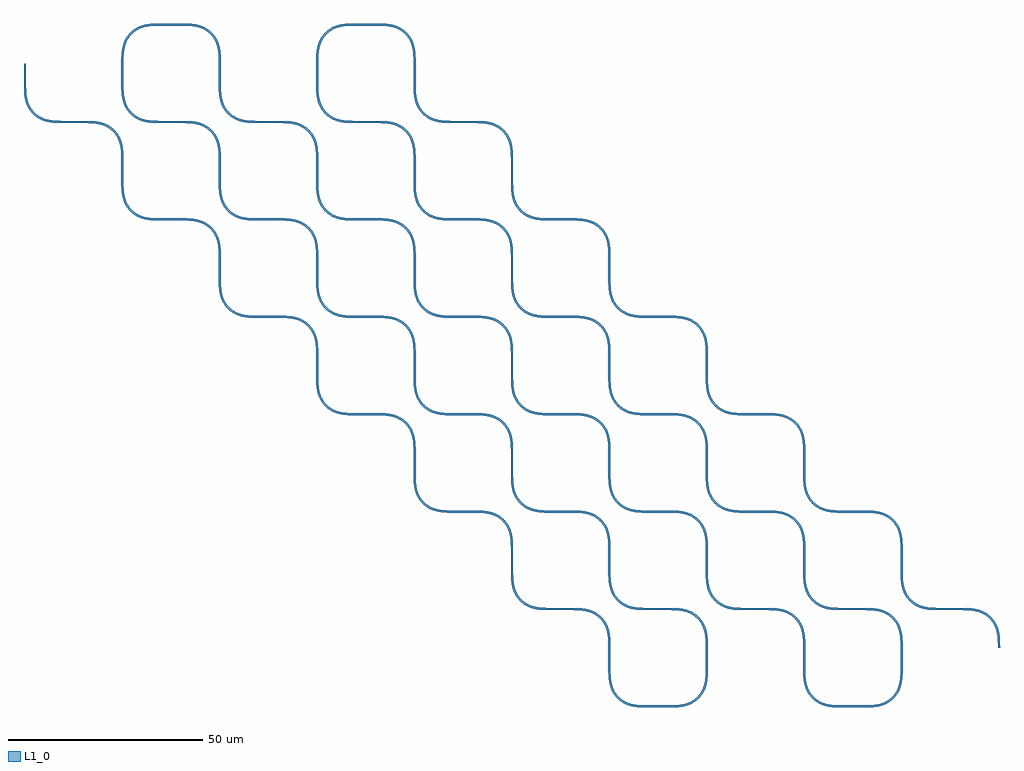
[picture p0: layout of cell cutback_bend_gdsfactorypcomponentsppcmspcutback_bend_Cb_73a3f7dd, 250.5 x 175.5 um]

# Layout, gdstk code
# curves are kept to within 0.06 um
from math import pi, radians
import gdstk
lib = gdstk.Library(unit=1e-6, precision=1e-09)
def R(c, l, rs):  # rectangles x0, y0, x1, y1
    for r in rs: c.add(gdstk.rectangle(r[:2], r[2:], *l))
def P(c, l, *ps):  # polygons
    for p in ps: c.add(gdstk.Polygon(p, *l))
L1_0 = (1, 0)

straight_gdsfactorypcomp = lib.new_cell('straight_gdsfactorypcomponentspwaveguidespstraight_L5_N_32b584f5')
R(straight_gdsfactorypcomp, L1_0, [(0,-0.25,5,0.25)])

bend_euler_gdsfactorypco = lib.new_cell('bend_euler_gdsfactorypcomponentspbendspbend_euler_RNone_387600b2')
P(bend_euler_gdsfactorypco, L1_0, [(0,-0.25),(0,0.25),(2.881,0.353),(3.952,0.52),(4.99,0.806),(6.431,1.505),(7.575,2.425),(8.495,3.569),(9.194,5.01),(9.48,6.048),(9.647,7.119),(9.75,10),(10.25,10),(10.158,7.205),(9.797,5.254),(9.457,4.312),(9.066,3.545),(8.5,2.715),(7.928,2.072),(7.285,1.5),(6.455,0.934),(5.688,0.543),(4.746,0.203),(2.795,-0.158)])

cutback_bend_gdsfactoryp = lib.new_cell('cutback_bend_gdsfactorypcomponentsppcmspcutback_bend_Cb_73a3f7dd')
cutback_bend_gdsfactoryp.add(gdstk.Reference(straight_gdsfactorypcomp, (-75,70), rotation=pi/2))
cutback_bend_gdsfactoryp.add(gdstk.Reference(bend_euler_gdsfactorypco, (-125,120), rotation=3*pi/2))
cutback_bend_gdsfactoryp.add(gdstk.Reference(straight_gdsfactorypcomp, (-125,120), rotation=pi/2))
cutback_bend_gdsfactoryp.add(gdstk.Reference(bend_euler_gdsfactorypco, (-125,125), rotation=pi/2))
cutback_bend_gdsfactoryp.add(gdstk.Reference(bend_euler_gdsfactorypco, (-125,100), rotation=pi/2))
cutback_bend_gdsfactoryp.add(gdstk.Reference(straight_gdsfactorypcomp, (-125,100), rotation=3*pi/2))
cutback_bend_gdsfactoryp.add(gdstk.Reference(bend_euler_gdsfactorypco, (-125,95), rotation=3*pi/2))
cutback_bend_gdsfactoryp.add(gdstk.Reference(straight_gdsfactorypcomp, (-100,75), rotation=3*pi/2))
cutback_bend_gdsfactoryp.add(gdstk.Reference(bend_euler_gdsfactorypco, (-125,70), rotation=3*pi/2))
cutback_bend_gdsfactoryp.add(gdstk.Reference(straight_gdsfactorypcomp, (-125,70), rotation=pi/2))
cutback_bend_gdsfactoryp.add(gdstk.Reference(bend_euler_gdsfactorypco, (-125,75), rotation=pi/2))
cutback_bend_gdsfactoryp.add(gdstk.Reference(straight_gdsfactorypcomp, (-150,75), rotation=3*pi/2))
cutback_bend_gdsfactoryp.add(gdstk.Reference(bend_euler_gdsfactorypco, (-125,50), rotation=pi/2))
cutback_bend_gdsfactoryp.add(gdstk.Reference(straight_gdsfactorypcomp, (-125,50), rotation=3*pi/2))
cutback_bend_gdsfactoryp.add(gdstk.Reference(bend_euler_gdsfactorypco, (-125,45), rotation=3*pi/2))
cutback_bend_gdsfactoryp.add(gdstk.Reference(bend_euler_gdsfactorypco, (-125,20), rotation=3*pi/2))
cutback_bend_gdsfactoryp.add(gdstk.Reference(straight_gdsfactorypcomp, (-125,20), rotation=pi/2))
cutback_bend_gdsfactoryp.add(gdstk.Reference(bend_euler_gdsfactorypco, (-125,25), rotation=pi/2))
cutback_bend_gdsfactoryp.add(gdstk.Reference(straight_gdsfactorypcomp, (-175,70), rotation=pi/2))
cutback_bend_gdsfactoryp.add(gdstk.Reference(bend_euler_gdsfactorypco, (-100,100), rotation=pi/2))
cutback_bend_gdsfactoryp.add(gdstk.Reference(straight_gdsfactorypcomp, (-110,110), rotation=pi))
cutback_bend_gdsfactoryp.add(gdstk.Reference(straight_gdsfactorypcomp, (-115,85)))
cutback_bend_gdsfactoryp.add(gdstk.Reference(bend_euler_gdsfactorypco, (-100,75), rotation=pi/2))
cutback_bend_gdsfactoryp.add(gdstk.Reference(bend_euler_gdsfactorypco, (-75,75), rotation=pi/2))
cutback_bend_gdsfactoryp.add(gdstk.Reference(straight_gdsfactorypcomp, (-85,85), rotation=pi))
cutback_bend_gdsfactoryp.add(gdstk.Reference(bend_euler_gdsfactorypco, (-100,95), rotation=3*pi/2))
cutback_bend_gdsfactoryp.add(gdstk.Reference(straight_gdsfactorypcomp, (-100,95), rotation=pi/2))
cutback_bend_gdsfactoryp.add(gdstk.Reference(straight_gdsfactorypcomp, (-160,160), rotation=pi))
cutback_bend_gdsfactoryp.add(gdstk.Reference(bend_euler_gdsfactorypco, (-165,160), rotation=pi))
cutback_bend_gdsfactoryp.add(gdstk.Reference(straight_gdsfactorypcomp, (-175,150), rotation=3*pi/2))
cutback_bend_gdsfactoryp.add(gdstk.Reference(bend_euler_gdsfactorypco, (-175,145), rotation=3*pi/2))
cutback_bend_gdsfactoryp.add(gdstk.Reference(straight_gdsfactorypcomp, (-165,135)))
cutback_bend_gdsfactoryp.add(gdstk.Reference(straight_gdsfactorypcomp, (-135,85), rotation=pi))
cutback_bend_gdsfactoryp.add(gdstk.Reference(bend_euler_gdsfactorypco, (-150,95), rotation=3*pi/2))
cutback_bend_gdsfactoryp.add(gdstk.Reference(straight_gdsfactorypcomp, (-150,95), rotation=pi/2))
cutback_bend_gdsfactoryp.add(gdstk.Reference(bend_euler_gdsfactorypco, (-150,100), rotation=pi/2))
cutback_bend_gdsfactoryp.add(gdstk.Reference(straight_gdsfactorypcomp, (-160,110), rotation=pi))
cutback_bend_gdsfactoryp.add(gdstk.Reference(bend_euler_gdsfactorypco, (-175,120), rotation=3*pi/2))
cutback_bend_gdsfactoryp.add(gdstk.Reference(straight_gdsfactorypcomp, (-175,120), rotation=pi/2))
cutback_bend_gdsfactoryp.add(gdstk.Reference(bend_euler_gdsfactorypco, (-175,125), rotation=pi/2))
cutback_bend_gdsfactoryp.add(gdstk.Reference(straight_gdsfactorypcomp, (-185,135), rotation=pi))
cutback_bend_gdsfactoryp.add(gdstk.Reference(bend_euler_gdsfactorypco, (-200,145), rotation=3*pi/2))
cutback_bend_gdsfactoryp.add(gdstk.Reference(straight_gdsfactorypcomp, (-200,145), rotation=pi/2))
cutback_bend_gdsfactoryp.add(gdstk.Reference(bend_euler_gdsfactorypco, (-200,150), rotation=pi/2))
cutback_bend_gdsfactoryp.add(gdstk.Reference(straight_gdsfactorypcomp, (-210,160), rotation=pi))
cutback_bend_gdsfactoryp.add(gdstk.Reference(bend_euler_gdsfactorypco, (-215,160), rotation=pi))
cutback_bend_gdsfactoryp.add(gdstk.Reference(straight_gdsfactorypcomp, (-225,150), rotation=3*pi/2))
cutback_bend_gdsfactoryp.add(gdstk.Reference(bend_euler_gdsfactorypco, (-225,145), rotation=3*pi/2))
cutback_bend_gdsfactoryp.add(gdstk.Reference(straight_gdsfactorypcomp, (-215,135)))
cutback_bend_gdsfactoryp.add(gdstk.Reference(bend_euler_gdsfactorypco, (-200,125), rotation=pi/2))
cutback_bend_gdsfactoryp.add(gdstk.Reference(straight_gdsfactorypcomp, (-200,125), rotation=3*pi/2))
cutback_bend_gdsfactoryp.add(gdstk.Reference(bend_euler_gdsfactorypco, (-200,120), rotation=3*pi/2))
cutback_bend_gdsfactoryp.add(gdstk.Reference(straight_gdsfactorypcomp, (-190,110)))
cutback_bend_gdsfactoryp.add(gdstk.Reference(bend_euler_gdsfactorypco, (-175,100), rotation=pi/2))
cutback_bend_gdsfactoryp.add(gdstk.Reference(straight_gdsfactorypcomp, (-175,100), rotation=3*pi/2))
cutback_bend_gdsfactoryp.add(gdstk.Reference(bend_euler_gdsfactorypco, (-175,95), rotation=3*pi/2))
cutback_bend_gdsfactoryp.add(gdstk.Reference(straight_gdsfactorypcomp, (-165,85)))
cutback_bend_gdsfactoryp.add(gdstk.Reference(bend_euler_gdsfactorypco, (-150,75), rotation=pi/2))
cutback_bend_gdsfactoryp.add(gdstk.Reference(bend_euler_gdsfactorypco, (-150,125), rotation=pi/2))
cutback_bend_gdsfactoryp.add(gdstk.Reference(straight_gdsfactorypcomp, (-150,125), rotation=3*pi/2))
cutback_bend_gdsfactoryp.add(gdstk.Reference(bend_euler_gdsfactorypco, (-150,120), rotation=3*pi/2))
cutback_bend_gdsfactoryp.add(gdstk.Reference(straight_gdsfactorypcomp, (-140,110)))
cutback_bend_gdsfactoryp.add(gdstk.Reference(straight_gdsfactorypcomp, (-135,135), rotation=pi))
cutback_bend_gdsfactoryp.add(gdstk.Reference(bend_euler_gdsfactorypco, (-150,145), rotation=3*pi/2))
cutback_bend_gdsfactoryp.add(gdstk.Reference(straight_gdsfactorypcomp, (-150,145), rotation=pi/2))
cutback_bend_gdsfactoryp.add(gdstk.Reference(bend_euler_gdsfactorypco, (-150,150), rotation=pi/2))
cutback_bend_gdsfactoryp.add(gdstk.Reference(bend_euler_gdsfactorypco, (-175,75), rotation=pi/2))
cutback_bend_gdsfactoryp.add(gdstk.Reference(straight_gdsfactorypcomp, (-185,85), rotation=pi))
cutback_bend_gdsfactoryp.add(gdstk.Reference(bend_euler_gdsfactorypco, (-200,95), rotation=3*pi/2))
cutback_bend_gdsfactoryp.add(gdstk.Reference(straight_gdsfactorypcomp, (-200,95), rotation=pi/2))
cutback_bend_gdsfactoryp.add(gdstk.Reference(bend_euler_gdsfactorypco, (-200,100), rotation=pi/2))
cutback_bend_gdsfactoryp.add(gdstk.Reference(straight_gdsfactorypcomp, (-210,110), rotation=pi))
cutback_bend_gdsfactoryp.add(gdstk.Reference(bend_euler_gdsfactorypco, (-225,120), rotation=3*pi/2))
cutback_bend_gdsfactoryp.add(gdstk.Reference(straight_gdsfactorypcomp, (-225,120), rotation=pi/2))
cutback_bend_gdsfactoryp.add(gdstk.Reference(bend_euler_gdsfactorypco, (-225,125), rotation=pi/2))
cutback_bend_gdsfactoryp.add(gdstk.Reference(straight_gdsfactorypcomp, (-235,135), rotation=pi))
cutback_bend_gdsfactoryp.add(gdstk.Reference(bend_euler_gdsfactorypco, (-250,145), rotation=3*pi/2))
cutback_bend_gdsfactoryp.add(gdstk.Reference(straight_gdsfactorypcomp, (-250,145), rotation=pi/2))
cutback_bend_gdsfactoryp.add(gdstk.Reference(bend_euler_gdsfactorypco, (-150,50), rotation=pi/2))
cutback_bend_gdsfactoryp.add(gdstk.Reference(straight_gdsfactorypcomp, (-160,60), rotation=pi))
cutback_bend_gdsfactoryp.add(gdstk.Reference(bend_euler_gdsfactorypco, (-175,70), rotation=3*pi/2))
cutback_bend_gdsfactoryp.add(gdstk.Reference(bend_euler_gdsfactorypco, (-150,70), rotation=3*pi/2))
cutback_bend_gdsfactoryp.add(gdstk.Reference(straight_gdsfactorypcomp, (-140,60)))
cutback_bend_gdsfactoryp.add(gdstk.Reference(straight_gdsfactorypcomp, (-135,35), rotation=pi))
cutback_bend_gdsfactoryp.add(gdstk.Reference(bend_euler_gdsfactorypco, (-150,45), rotation=3*pi/2))
cutback_bend_gdsfactoryp.add(gdstk.Reference(straight_gdsfactorypcomp, (-150,45), rotation=pi/2))
cutback_bend_gdsfactoryp.add(gdstk.Reference(straight_gdsfactorypcomp, (-40,10)))
cutback_bend_gdsfactoryp.add(gdstk.Reference(bend_euler_gdsfactorypco, (-25,0), rotation=pi/2))
cutback_bend_gdsfactoryp.add(gdstk.Reference(straight_gdsfactorypcomp, (-25,0), rotation=3*pi/2))
cutback_bend_gdsfactoryp.add(gdstk.Reference(bend_euler_gdsfactorypco, (-35,-15)))
cutback_bend_gdsfactoryp.add(gdstk.Reference(straight_gdsfactorypcomp, (-35,-15), rotation=pi))
cutback_bend_gdsfactoryp.add(gdstk.Reference(bend_euler_gdsfactorypco, (-50,-5), rotation=3*pi/2))
cutback_bend_gdsfactoryp.add(gdstk.Reference(straight_gdsfactorypcomp, (-50,-5), rotation=pi/2))
cutback_bend_gdsfactoryp.add(gdstk.Reference(bend_euler_gdsfactorypco, (-50,0), rotation=pi/2))
cutback_bend_gdsfactoryp.add(gdstk.Reference(straight_gdsfactorypcomp, (-60,10), rotation=pi))
cutback_bend_gdsfactoryp.add(gdstk.Reference(bend_euler_gdsfactorypco, (-75,20), rotation=3*pi/2))
cutback_bend_gdsfactoryp.add(gdstk.Reference(straight_gdsfactorypcomp, (-75,20), rotation=pi/2))
cutback_bend_gdsfactoryp.add(gdstk.Reference(bend_euler_gdsfactorypco, (-75,25), rotation=pi/2))
cutback_bend_gdsfactoryp.add(gdstk.Reference(straight_gdsfactorypcomp, (-85,35), rotation=pi))
cutback_bend_gdsfactoryp.add(gdstk.Reference(bend_euler_gdsfactorypco, (-100,45), rotation=3*pi/2))
cutback_bend_gdsfactoryp.add(gdstk.Reference(straight_gdsfactorypcomp, (-100,45), rotation=pi/2))
cutback_bend_gdsfactoryp.add(gdstk.Reference(straight_gdsfactorypcomp, (-115,35)))
cutback_bend_gdsfactoryp.add(gdstk.Reference(bend_euler_gdsfactorypco, (-100,25), rotation=pi/2))
cutback_bend_gdsfactoryp.add(gdstk.Reference(straight_gdsfactorypcomp, (-100,25), rotation=3*pi/2))
cutback_bend_gdsfactoryp.add(gdstk.Reference(bend_euler_gdsfactorypco, (-100,20), rotation=3*pi/2))
cutback_bend_gdsfactoryp.add(gdstk.Reference(straight_gdsfactorypcomp, (-90,10)))
cutback_bend_gdsfactoryp.add(gdstk.Reference(bend_euler_gdsfactorypco, (-75,0), rotation=pi/2))
cutback_bend_gdsfactoryp.add(gdstk.Reference(straight_gdsfactorypcomp, (-75,0), rotation=3*pi/2))
cutback_bend_gdsfactoryp.add(gdstk.Reference(bend_euler_gdsfactorypco, (-85,-15)))
cutback_bend_gdsfactoryp.add(gdstk.Reference(straight_gdsfactorypcomp, (-85,-15), rotation=pi))
cutback_bend_gdsfactoryp.add(gdstk.Reference(bend_euler_gdsfactorypco, (-100,-5), rotation=3*pi/2))
cutback_bend_gdsfactoryp.add(gdstk.Reference(straight_gdsfactorypcomp, (-100,-5), rotation=pi/2))
cutback_bend_gdsfactoryp.add(gdstk.Reference(bend_euler_gdsfactorypco, (-100,0), rotation=pi/2))
cutback_bend_gdsfactoryp.add(gdstk.Reference(straight_gdsfactorypcomp, (-110,10), rotation=pi))
cutback_bend_gdsfactoryp.add(gdstk.Reference(bend_euler_gdsfactorypco, (-100,50), rotation=pi/2))
cutback_bend_gdsfactoryp.add(gdstk.Reference(straight_gdsfactorypcomp, (-110,60), rotation=pi))
cutback_bend_gdsfactoryp.add(gdstk.Reference(straight_gdsfactorypcomp, (-50,45), rotation=pi/2))
cutback_bend_gdsfactoryp.add(gdstk.Reference(bend_euler_gdsfactorypco, (-50,50), rotation=pi/2))
cutback_bend_gdsfactoryp.add(gdstk.Reference(straight_gdsfactorypcomp, (-60,60), rotation=pi))
cutback_bend_gdsfactoryp.add(gdstk.Reference(bend_euler_gdsfactorypco, (-75,70), rotation=3*pi/2))
cutback_bend_gdsfactoryp.add(gdstk.Reference(bend_euler_gdsfactorypco, (0,0), rotation=pi/2))
cutback_bend_gdsfactoryp.add(gdstk.Reference(straight_gdsfactorypcomp, (-10,10), rotation=pi))
cutback_bend_gdsfactoryp.add(gdstk.Reference(bend_euler_gdsfactorypco, (-25,20), rotation=3*pi/2))
cutback_bend_gdsfactoryp.add(gdstk.Reference(straight_gdsfactorypcomp, (-25,20), rotation=pi/2))
cutback_bend_gdsfactoryp.add(gdstk.Reference(bend_euler_gdsfactorypco, (-25,25), rotation=pi/2))
cutback_bend_gdsfactoryp.add(gdstk.Reference(straight_gdsfactorypcomp, (-35,35), rotation=pi))
cutback_bend_gdsfactoryp.add(gdstk.Reference(bend_euler_gdsfactorypco, (-50,45), rotation=3*pi/2))
cutback_bend_gdsfactoryp.add(gdstk.Reference(bend_euler_gdsfactorypco, (-100,70), rotation=3*pi/2))
cutback_bend_gdsfactoryp.add(gdstk.Reference(straight_gdsfactorypcomp, (-90,60)))
cutback_bend_gdsfactoryp.add(gdstk.Reference(bend_euler_gdsfactorypco, (-75,50), rotation=pi/2))
cutback_bend_gdsfactoryp.add(gdstk.Reference(straight_gdsfactorypcomp, (-75,50), rotation=3*pi/2))
cutback_bend_gdsfactoryp.add(gdstk.Reference(bend_euler_gdsfactorypco, (-75,45), rotation=3*pi/2))
cutback_bend_gdsfactoryp.add(gdstk.Reference(straight_gdsfactorypcomp, (-65,35)))
cutback_bend_gdsfactoryp.add(gdstk.Reference(bend_euler_gdsfactorypco, (-50,25), rotation=pi/2))
cutback_bend_gdsfactoryp.add(gdstk.Reference(straight_gdsfactorypcomp, (-50,25), rotation=3*pi/2))
cutback_bend_gdsfactoryp.add(gdstk.Reference(bend_euler_gdsfactorypco, (-50,20), rotation=3*pi/2))

lib.write_gds('cutback_bend_gdsfactorypcomponentsppcmspcutback_bend_Cb_73a3f7dd.gds')
